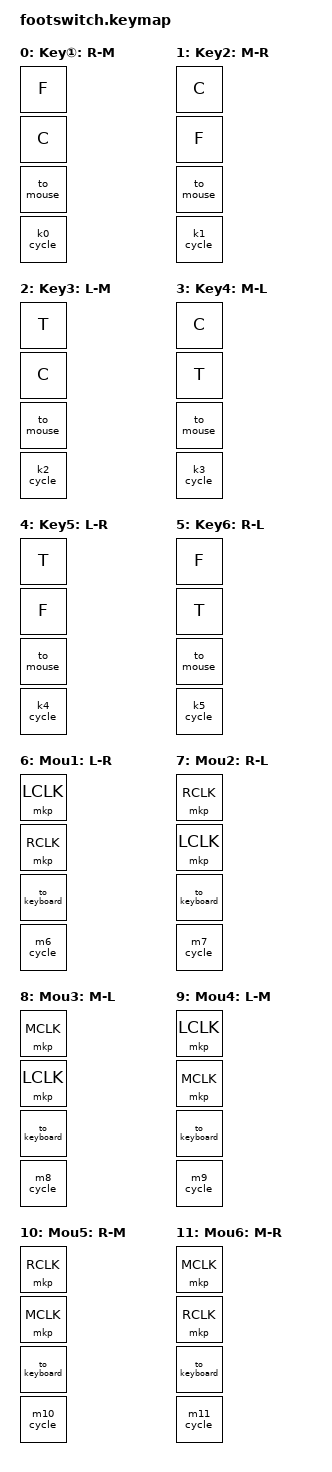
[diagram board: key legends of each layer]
#include <behaviors.dtsi>
#include <dt-bindings/zmk/keys.h>
#include <dt-bindings/zmk/bt.h>
#include <dt-bindings/zmk/mouse.h>
#include <dt-bindings/zmk/ext_power.h>

/ {
    behaviors {
        // 키보드 레이어 순환 매크로 (기존 그대로)
        k0_cycle: k0_cycle { compatible = "zmk,behavior-macro"; #binding-cells = <0>; bindings = <&macro_tap &to 1>; };
        k1_cycle: k1_cycle { compatible = "zmk,behavior-macro"; #binding-cells = <0>; bindings = <&macro_tap &to 2>; };
        k2_cycle: k2_cycle { compatible = "zmk,behavior-macro"; #binding-cells = <0>; bindings = <&macro_tap &to 3>; };
        k3_cycle: k3_cycle { compatible = "zmk,behavior-macro"; #binding-cells = <0>; bindings = <&macro_tap &to 4>; };
        k4_cycle: k4_cycle { compatible = "zmk,behavior-macro"; #binding-cells = <0>; bindings = <&macro_tap &to 5>; };
        k5_cycle: k5_cycle { compatible = "zmk,behavior-macro"; #binding-cells = <0>; bindings = <&macro_tap &to 0>; };

        // 마우스 레이어 순환 매크로 (기존 그대로)
        m6_cycle:  m6_cycle  { compatible = "zmk,behavior-macro"; #binding-cells = <0>; bindings = <&macro_tap &to 7>; };
        m7_cycle:  m7_cycle  { compatible = "zmk,behavior-macro"; #binding-cells = <0>; bindings = <&macro_tap &to 8>; };
        m8_cycle:  m8_cycle  { compatible = "zmk,behavior-macro"; #binding-cells = <0>; bindings = <&macro_tap &to 9>; };
        m9_cycle:  m9_cycle  { compatible = "zmk,behavior-macro"; #binding-cells = <0>; bindings = <&macro_tap &to 10>; };
        m10_cycle: m10_cycle { compatible = "zmk,behavior-macro"; #binding-cells = <0>; bindings = <&macro_tap &to 11>; };
        m11_cycle: m11_cycle { compatible = "zmk,behavior-macro"; #binding-cells = <0>; bindings = <&macro_tap &to 6>; };

        to_mouse: to_mouse {
            compatible = "zmk,behavior-macro";
            #binding-cells = <0>;
            bindings = <&macro_tap &to 6>;  // 6번 레이어로 이동 - 마우스모드로 전환
        };

        to_keyboard: to_keyboard {
            compatible = "zmk,behavior-macro";
            #binding-cells = <0>;
            bindings = <&macro_tap &to 0>;  // 0번 레이어로 이동 - 키보드모드로 전환
        };
    }; 

    keymap {
        compatible = "zmk,keymap";

        // --- 0. 기본 키보드 모드 (Layer 0) --- 0 ~ 5
        default_layer {
            display-name = "Key①: R-M";
            bindings = <
                &kp F               // 풋스위치 1: F -> 데뮬슈터: Right
                &kp C               // 풋스위치 2: C -> 데뮬슈터: middle
                &to_mouse           // 모드 전환 스위치: 토글 -> 레이어 6으로 이동(마우스모드)
                &k0_cycle           // 레이어 순환: 레이어 1으로 이동
            >;
        };
 
        // --- 1. 키보드 모드 (Layer 1) ---
        keyboard_layer_1 {
            display-name = "Key2: M-R";
            bindings = <
                &kp C               // 풋스위치 1: C -> 데뮬슈터: middle
                &kp F               // 풋스위치 2: F -> 데뮬슈터: Right
                &to_mouse           // 모드 전환 스위치
                &k1_cycle           // 레이어 순환: 레이어 2으로 이동
            >;
        };

        // --- 2. 키보드 모드 (Layer 2) ---
        keyboard_layer_2 {
            display-name = "Key3: L-M";
            bindings = <
                &kp T               // 풋스위치 1: T -> 데뮬슈터: left
                &kp C               // 풋스위치 2: C -> 데뮬슈터: middle
                &to_mouse           // 모드 전환 스위치
                &k2_cycle           // 레이어 순환: 레이어 3로 이동
            >;
        };

        // --- 3. 키보드 모드 (Layer 3) ---
        keyboard_layer_3 {
            display-name = "Key4: M-L";
            bindings = <
                &kp C               // 풋스위치 1: C -> 데뮬슈터: middle
                &kp T               // 풋스위치 2: T -> 데뮬슈터: left
                &to_mouse           // 모드 전환 스위치
                &k3_cycle           // 레이어 순환: 레이어 4로 이동
            >;
        };

        // --- 4. 키보드 모드 (Layer 4) ---
        keyboard_layer_4 {
            display-name = "Key5: L-R";
            bindings = <
                &kp T               // 풋스위치 1: T -> 데뮬슈터: left
                &kp F               // 풋스위치 2: F -> 데뮬슈터: Right
                &to_mouse           // 모드 전환 스위치
                &k4_cycle           // 레이어 순환: 레이어 5로 이동
            >;
        };

        // --- 5. 키보드 모드 (Layer 5) ---
        keyboard_layer_5 {
            display-name = "Key6: R-L";
            bindings = <
                &kp F               // 풋스위치 1: F -> 데뮬슈터: Right
                &kp T               // 풋스위치 2: T -> 데뮬슈터: left
                &to_mouse           // 모드 전환 스위치
                &k5_cycle           // 레이어 순환: 레이어 0로 이동
            >;
        };

        // --- 6. 기본 마우스 모드 (Layer 6) ---
        mouse_base {
            display-name = "Mou1: L-R";
            bindings = <
                &mkp LCLK           // 풋스위치 1: 좌클릭
                &mkp RCLK           // 풋스위치 2: 우클릭
                &to_keyboard        // 모드 전환 스위치
                &m6_cycle           // 레이어 순환: 레이어 7로 이동
            >;
        };

        // --- 7. 마우스 모드 (Layer 7) ---
        mouse_layer_1 {
            display-name = "Mou2: R-L";
            bindings = <
                &mkp RCLK           // 풋스위치 1: 우클릭
                &mkp LCLK           // 풋스위치 2: 좌클릭
                &to_keyboard        // 모드 전환 스위치
                &m7_cycle           // 레이어 순환: 레이어 8로 이동
            >;
        };

        // --- 8. 마우스 모드 (Layer 8) ---
        mouse_layer_2 {
            display-name = "Mou3: M-L";
            bindings = <
                &mkp MCLK           // 풋스위치 1: 중간클릭
                &mkp LCLK           // 풋스위치 2: 좌클릭
                &to_keyboard        // 모드 전환 스위치
                &m8_cycle           // 레이어 순환: 레이어 9으로 이동
            >;
        };

        // --- 9. 마우스 모드 (Layer 9) ---
        mouse_layer_3 {
            display-name = "Mou4: L-M";
            bindings = <
                &mkp LCLK           // 풋스위치 1: 좌클릭
                &mkp MCLK           // 풋스위치 2: 중간클릭
                &to_keyboard        // 모드 전환 스위치
                &m9_cycle           // 레이어 순환: 레이어 10으로 이동
            >;
        };

        // --- 10. 마우스 모드 (Layer 10) ---
        mouse_layer_4 {
            display-name = "Mou5: R-M";
            bindings = <
                &mkp RCLK           // 풋스위치 1: 우클릭
                &mkp MCLK           // 풋스위치 2: 중간클릭
                &to_keyboard        // 모드 전환 스위치
                &m10_cycle          // 레이어 순환: 레이어 11으로 이동
            >;
        };

        // --- 11. 마우스 모드 (Layer 11) ---
        mouse_layer_5 {
            display-name = "Mou6: M-R";
            bindings = <
                &mkp MCLK           // 풋스위치 1: 중간클릭
                &mkp RCLK           // 풋스위치 2: 우클릭
                &to_keyboard        // 모드 전환 스위치
                &m11_cycle          // 레이어 순환: 레이어 6으로 이동
            >;
        };
    };

    // --- 콤보 설정 (블루투스 페어링 초기화) ---
    combos {
        compatible = "zmk,combos";
        combo_bt_clear {
            timeout-ms = <50>;
            key-positions = <0 1>; // 풋스위치 1번과 2번
            bindings = <&bt BT_CLR>; // 동시에 누르면 블루투스 페어링 정보 초기화
        };
    };
};
